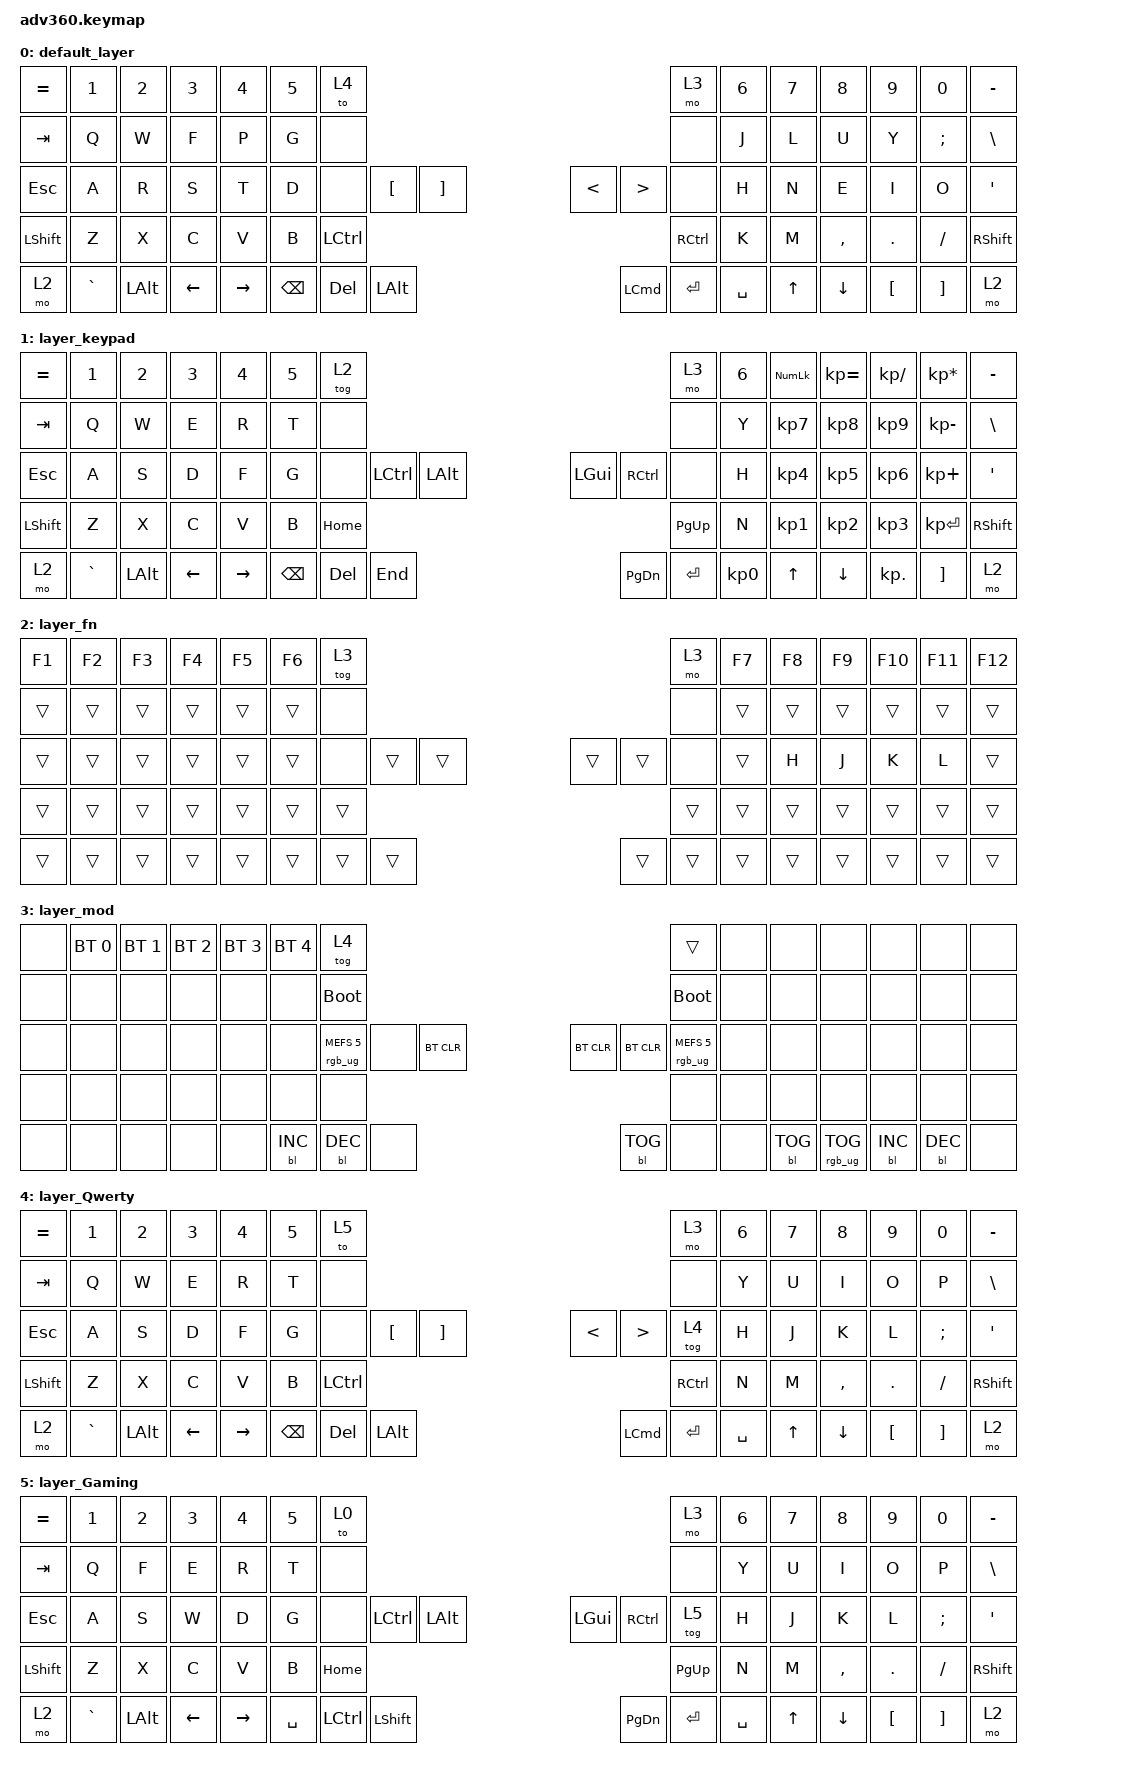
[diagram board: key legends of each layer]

/*
 * Copyright (c) 2020 The ZMK Contributors
 *
 * SPDX-License-Identifier: MIT
 */


/* THIS FILE WAS GENERATED!
 *
 * This file was generated automatically. You may or may not want to
 * edit it directly.
 */

#include <behaviors.dtsi>
#include <dt-bindings/zmk/keys.h>
#include <dt-bindings/zmk/bt.h>
#include <dt-bindings/zmk/rgb.h>
#include <dt-bindings/zmk/backlight.h>

/ {
  behaviors {
    #include "macros.dtsi"

    hm: homerow_mods {
        compatible = "zmk,behavior-hold-tap";
        label = "HOMEROW_MODS";
        #binding-cells = <2>;
        tapping-term-ms = <200>;
        quick_tap_ms = <175>;
        flavor = "tap-preferred";
        bindings = <&kp>, <&kp>;
    };
  };

    keymap {
        compatible = "zmk,keymap";


        default_layer {
            bindings = <
 &kp EQUAL     &kp N1    &kp N2    &kp N3     &kp N4  &kp N5               &to 4                                                                                               &mo 3  &kp N6  &kp N7     &kp N8    &kp N9         &kp N0  &kp MINUS
   &kp TAB      &kp Q     &kp W     &kp F      &kp P   &kp G               &none                                                                                               &none   &kp J   &kp L      &kp U     &kp Y  &kp SEMICOLON   &kp BSLH
   &kp ESC      &kp A     &kp R     &kp S      &kp T   &kp D               &none  &kp LEFT_BRACKET  &kp RIGHT_BRACKET                     &kp LESS_THAN  &kp GREATER_THAN      &none   &kp H   &kp N      &kp E     &kp I          &kp O    &kp SQT
 &kp LSHFT      &kp Z     &kp X     &kp C      &kp V   &kp B                                                &kp LCTRL                         &kp RCTRL                                &kp K   &kp M  &kp COMMA   &kp DOT       &kp FSLH  &kp RSHFT
     &mo 2  &kp GRAVE  &kp LALT  &kp LEFT  &kp RIGHT                    &kp BSPC           &kp DEL           &kp LALT                  &kp LEFT_COMMAND         &kp ENTER  &kp SPACE          &kp UP   &kp DOWN  &kp LBKT       &kp RBKT      &mo 2
            >;
        };

        layer_keypad {
            bindings = <
 &kp EQUAL     &kp N1    &kp N2    &kp N3     &kp N4  &kp N5              &tog 2                                                                 &mo 3  &kp N6  &kp KP_NUM  &kp KP_EQUAL  &kp KP_DIVIDE  &kp KP_MULTIPLY  &kp MINUS
   &kp TAB      &kp Q     &kp W     &kp E      &kp R   &kp T               &none                                                                 &none   &kp Y   &kp KP_N7     &kp KP_N8      &kp KP_N9     &kp KP_MINUS   &kp BSLH
   &kp ESC      &kp A     &kp S     &kp D      &kp F   &kp G               &none  &kp LCTRL  &kp LALT                   &kp LGUI  &kp RCTRL      &none   &kp H   &kp KP_N4     &kp KP_N5      &kp KP_N6      &kp KP_PLUS    &kp SQT
 &kp LSHFT      &kp Z     &kp X     &kp C      &kp V   &kp B                                 &kp HOME                  &kp PG_UP                         &kp N   &kp KP_N1     &kp KP_N2      &kp KP_N3     &kp KP_ENTER  &kp RSHFT
     &mo 2  &kp GRAVE  &kp LALT  &kp LEFT  &kp RIGHT                    &kp BSPC    &kp DEL   &kp END                  &kp PG_DN  &kp ENTER  &kp KP_N0              &kp UP      &kp DOWN     &kp KP_DOT         &kp RBKT      &mo 2
            >;
        };

        layer_fn {
            bindings = <
 &kp F1  &kp F2  &kp F3  &kp F4  &kp F5  &kp F6            &tog 3                                                   &mo 3  &kp F7  &kp F8  &kp F9  &kp F10  &kp F11  &kp F12
 &trans  &trans  &trans  &trans  &trans  &trans             &none                                                   &none  &trans  &trans  &trans   &trans   &trans   &trans
 &trans  &trans  &trans  &trans  &trans  &trans             &none  &trans  &trans                  &trans  &trans   &none  &trans   &kp H   &kp J    &kp K    &kp L   &trans
 &trans  &trans  &trans  &trans  &trans  &trans                            &trans                  &trans                  &trans  &trans  &trans   &trans   &trans   &trans
 &trans  &trans  &trans  &trans  &trans                    &trans  &trans  &trans                  &trans  &trans  &trans          &trans  &trans   &trans   &trans   &trans
            >;
        };

        layer_mod {
            bindings = <
  &none  &bt BT_SEL 0  &bt BT_SEL 1  &bt BT_SEL 2  &bt BT_SEL 3  &bt BT_SEL 4                            &tog 4                                                                                  &trans   &none       &none            &none       &none       &none   &none
  &none         &none         &none         &none         &none         &none                       &bootloader                                                                             &bootloader   &none       &none            &none       &none       &none   &none
  &none         &none         &none         &none         &none         &none            &rgb_ug RGB_MEFS_CMD 5       &none  &bt BT_CLR                  &bt BT_CLR  &bt BT_CLR  &rgb_ug RGB_MEFS_CMD 5   &none       &none            &none       &none       &none   &none
  &none         &none         &none         &none         &none         &none                                                     &none                       &none                                       &none       &none            &none       &none       &none   &none
  &none         &none         &none         &none         &none                                      &bl BL_INC  &bl BL_DEC       &none                  &bl BL_TOG       &none                   &none          &bl BL_TOG  &rgb_ug RGB_TOG  &bl BL_INC  &bl BL_DEC   &none
            >;
        };

        layer_Qwerty {
            bindings = <
 &kp EQUAL     &kp N1    &kp N2    &kp N3     &kp N4  &kp N5                    &to 5                                                                                                &mo 3  &kp N6  &kp N7     &kp N8    &kp N9    &kp N0  &kp MINUS
   &kp TAB      &kp Q     &kp W     &kp E      &kp R   &kp T                    &none                                                                                                &none   &kp Y   &kp U      &kp I     &kp O     &kp P   &kp BSLH
   &kp ESC      &kp A     &kp S     &kp D      &kp F   &kp G                    &none  &kp LEFT_BRACKET  &kp RIGHT_BRACKET                      &kp LESS_THAN  &kp GREATER_THAN     &tog 4   &kp H   &kp J      &kp K     &kp L  &kp SEMI    &kp SQT
 &kp LSHFT      &kp Z     &kp X     &kp C      &kp V   &kp B                                                     &kp LCTRL                  &kp RIGHT_CONTROL                                &kp N   &kp M  &kp COMMA   &kp DOT  &kp FSLH  &kp RSHFT
     &mo 2  &kp GRAVE  &kp LALT  &kp LEFT  &kp RIGHT                    &kp BACKSPACE           &kp DEL           &kp LALT                   &kp LEFT_COMMAND         &kp ENTER  &kp SPACE          &kp UP   &kp DOWN  &kp LBKT  &kp RBKT      &mo 2
            >;
        };

        layer_Gaming {
            bindings = <
 &kp EQUAL     &kp N1    &kp N2    &kp N3     &kp N4  &kp N5                &to 0                                                                       &mo 3  &kp N6  &kp N7     &kp N8    &kp N9    &kp N0  &kp MINUS
   &kp TAB      &kp Q     &kp F     &kp E      &kp R   &kp T                &none                                                                       &none   &kp Y   &kp U      &kp I     &kp O     &kp P   &kp BSLH
   &kp ESC      &kp A     &kp S     &kp W      &kp D   &kp G                &none  &kp LCTRL        &kp LALT                   &kp LGUI  &kp RCTRL     &tog 5   &kp H   &kp J      &kp K     &kp L  &kp SEMI    &kp SQT
 &kp LSHFT      &kp Z     &kp X     &kp C      &kp V   &kp B                                        &kp HOME                  &kp PG_UP                         &kp N   &kp M  &kp COMMA   &kp DOT  &kp FSLH  &kp RSHFT
     &mo 2  &kp GRAVE  &kp LALT  &kp LEFT  &kp RIGHT                    &kp SPACE  &kp LCTRL  &kp LEFT_SHIFT                  &kp PG_DN  &kp ENTER  &kp SPACE          &kp UP   &kp DOWN  &kp LBKT  &kp RBKT      &mo 2
            >;
        };

    };
};
